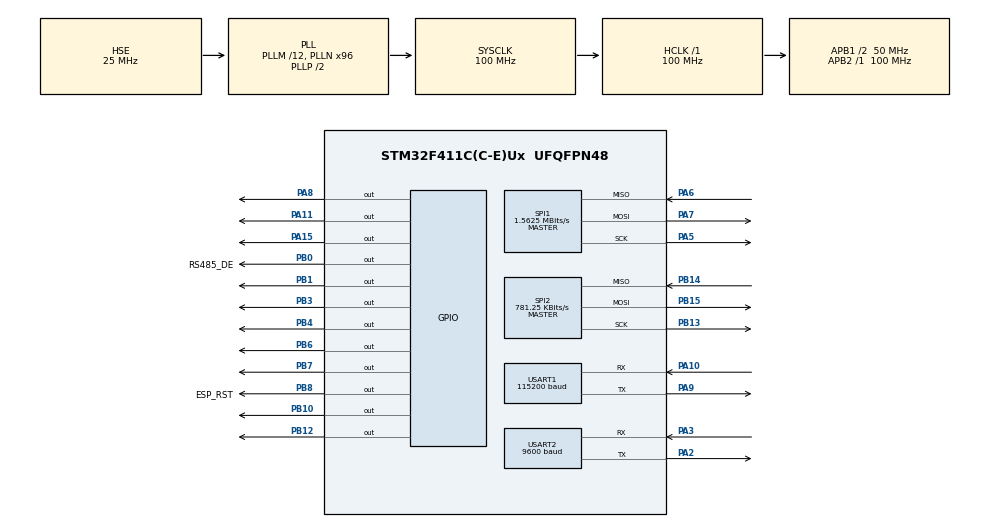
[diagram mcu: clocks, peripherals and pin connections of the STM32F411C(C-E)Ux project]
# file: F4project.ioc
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Dma.Request0=USART1_RX
Dma.Request1=USART1_TX
Dma.USART1_RX.0.Direction=DMA_PERIPH_TO_MEMORY
Dma.USART1_RX.0.FIFOMode=DMA_FIFOMODE_DISABLE
Dma.USART1_RX.0.Instance=DMA2_Stream2
Dma.USART1_RX.0.MemDataAlignment=DMA_MDATAALIGN_BYTE
Dma.USART1_RX.0.MemInc=DMA_MINC_ENABLE
Dma.USART1_RX.0.Mode=DMA_NORMAL
Dma.USART1_RX.0.PeriphDataAlignment=DMA_PDATAALIGN_BYTE
Dma.USART1_RX.0.PeriphInc=DMA_PINC_DISABLE
Dma.USART1_RX.0.Priority=DMA_PRIORITY_LOW
Dma.USART1_TX.1.Direction=DMA_MEMORY_TO_PERIPH
Dma.USART1_TX.1.FIFOMode=DMA_FIFOMODE_DISABLE
Dma.USART1_TX.1.Instance=DMA2_Stream7
Dma.USART1_TX.1.MemDataAlignment=DMA_MDATAALIGN_BYTE
Dma.USART1_TX.1.MemInc=DMA_MINC_ENABLE
Dma.USART1_TX.1.Mode=DMA_NORMAL
Dma.USART1_TX.1.PeriphDataAlignment=DMA_PDATAALIGN_BYTE
Dma.USART1_TX.1.PeriphInc=DMA_PINC_DISABLE
Dma.USART1_TX.1.Priority=DMA_PRIORITY_LOW
FREERTOS.Tasks01=defaultTask,24,128,StartDefaultTask,Default,NULL,Dynamic,NULL,NULL
FREERTOS.configUSE_TICKLESS_IDLE=2
IWDG.Prescaler=IWDG_PRESCALER_256
IWDG.Reload=2500-1
Mcu.Family=STM32F4
Mcu.Name=STM32F411C(C-E)Ux
Mcu.Package=UFQFPN48
NVIC.DMA2_Stream2_IRQn=true\:5\:0\:false\:false\:true\:true\:false\:true\:true
NVIC.DMA2_Stream7_IRQn=true\:5\:0\:false\:false\:true\:true\:false\:true\:true
NVIC.PriorityGroup=NVIC_PRIORITYGROUP_4
NVIC.RTC_WKUP_IRQn=true\:5\:0\:false\:false\:true\:true\:true\:true\:true
NVIC.TIM3_IRQn=true\:5\:0\:false\:false\:true\:true\:true\:true\:true
NVIC.TIM4_IRQn=true\:15\:0\:false\:false\:true\:false\:false\:true\:true
NVIC.TimeBase=TIM4_IRQn
NVIC.TimeBaseIP=TIM4
NVIC.USART1_IRQn=true\:5\:0\:false\:false\:true\:true\:true\:true\:true
NVIC.USART2_IRQn=true\:5\:0\:false\:false\:true\:true\:true\:true\:true
PA10.Mode=Asynchronous
PA10.Signal=USART1_RX
PA11.Signal=GPIO_Output
PA13.Mode=Serial_Wire
PA13.Signal=SYS_JTMS-SWDIO
PA14.Mode=Serial_Wire
PA14.Signal=SYS_JTCK-SWCLK
PA15.Signal=GPIO_Output
PA2.Mode=Asynchronous
PA2.Signal=USART2_TX
PA3.Mode=Asynchronous
PA3.Signal=USART2_RX
PA5.Mode=Full_Duplex_Master
PA5.Signal=SPI1_SCK
PA6.Mode=Full_Duplex_Master
PA6.Signal=SPI1_MISO
PA7.Mode=Full_Duplex_Master
PA7.Signal=SPI1_MOSI
PA8.PinState=GPIO_PIN_SET
PA8.Signal=GPIO_Output
PA9.GPIO_PuPd=GPIO_PULLUP
PA9.Mode=Asynchronous
PA9.Signal=USART1_TX
PB0.GPIO_Label=RS485_DE
PB0.Signal=GPIO_Output
PB1.Signal=GPIO_Output
PB10.GPIO_ModeDefaultOutputPP=GPIO_MODE_OUTPUT_PP
PB10.GPIO_PuPd=GPIO_NOPULL
PB10.PinState=GPIO_PIN_SET
PB10.Signal=GPIO_Output
PB12.PinState=GPIO_PIN_SET
PB12.Signal=GPIO_Output
PB13.Mode=Full_Duplex_Master
PB13.Signal=SPI2_SCK
PB14.Mode=Full_Duplex_Master
PB14.Signal=SPI2_MISO
PB15.Mode=Full_Duplex_Master
PB15.Signal=SPI2_MOSI
PB3.PinState=GPIO_PIN_SET
PB3.Signal=GPIO_Output
PB4.PinState=GPIO_PIN_SET
PB4.Signal=GPIO_Output
PB6.GPIO_ModeDefaultOutputPP=GPIO_MODE_OUTPUT_PP
PB6.GPIO_PuPd=GPIO_NOPULL
PB6.PinState=GPIO_PIN_SET
PB6.Signal=GPIO_Output
PB7.GPIO_ModeDefaultOutputPP=GPIO_MODE_OUTPUT_PP
PB7.GPIO_PuPd=GPIO_NOPULL
PB7.PinState=GPIO_PIN_SET
PB7.Signal=GPIO_Output
PB8.GPIO_Label=ESP_RST
PB8.PinState=GPIO_PIN_SET
PB8.Signal=GPIO_Output
PC14-OSC32_IN.Mode=LSE-External-Oscillator
PC14-OSC32_IN.Signal=RCC_OSC32_IN
PC15-OSC32_OUT.Mode=LSE-External-Oscillator
PC15-OSC32_OUT.Signal=RCC_OSC32_OUT
PH0\ -\ OSC_IN.Mode=HSE-External-Oscillator
PH0\ -\ OSC_IN.Signal=RCC_OSC_IN
PH1\ -\ OSC_OUT.Mode=HSE-External-Oscillator
PH1\ -\ OSC_OUT.Signal=RCC_OSC_OUT
ProjectManager.HeapSize=0x200
ProjectManager.StackSize=0x400
ProjectManager.TargetToolchain=MDK-ARM V5.32
RCC.48MHZClocksFreq_Value=50000000
RCC.AHBFreq_Value=100000000
RCC.APB1CLKDivider=RCC_HCLK_DIV2
RCC.APB1Freq_Value=50000000
RCC.APB1TimFreq_Value=100000000
RCC.APB2Freq_Value=100000000
RCC.APB2TimFreq_Value=100000000
RCC.CortexFreq_Value=100000000
RCC.HCLKFreq_Value=100000000
RCC.HSE_VALUE=25000000
RCC.HSI_VALUE=16000000
RCC.PLLM=12
RCC.PLLN=96
RCC.PLLSourceVirtual=RCC_PLLSOURCE_HSE
RCC.RCC_RTC_Clock_Source=RCC_RTCCLKSOURCE_LSE
RCC.RCC_RTC_Clock_SourceVirtual=RCC_RTCCLKSOURCE_LSE
RCC.SYSCLKFreq_VALUE=100000000
RCC.SYSCLKSource=RCC_SYSCLKSOURCE_PLLCLK
RCC.VCOOutputFreq_Value=200000000
SPI1.BaudRatePrescaler=SPI_BAUDRATEPRESCALER_64
SPI1.CalculateBaudRate=1.5625 MBits/s
SPI1.Direction=SPI_DIRECTION_2LINES
SPI1.Mode=SPI_MODE_MASTER
SPI1.VirtualType=VM_MASTER
SPI2.BaudRatePrescaler=SPI_BAUDRATEPRESCALER_64
SPI2.CalculateBaudRate=781.25 KBits/s
SPI2.Direction=SPI_DIRECTION_2LINES
SPI2.Mode=SPI_MODE_MASTER
SPI2.VirtualType=VM_MASTER
TIM3.Period=1000-1
TIM3.Prescaler=100-1
USART1.BaudRate=115200
USART1.VirtualMode=VM_ASYNC
USART2.BaudRate=9600
USART2.VirtualMode=VM_ASYNC
VP_FREERTOS_VS_CMSIS_V2.Mode=CMSIS_V2
VP_IWDG_VS_IWDG.Mode=IWDG_Activate
VP_RTC_VS_RTC_Activate.Mode=RTC_Enabled
VP_RTC_VS_RTC_WakeUp_intern.Mode=WakeUp
VP_SYS_VS_tim4.Mode=TIM4
VP_TIM3_VS_ClockSourceINT.Mode=Internal
board=custom

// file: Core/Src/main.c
/* USER CODE BEGIN Header */
/**
  ******************************************************************************
  * @file           : main.c
  * @brief          : Main program body
  ******************************************************************************
  * @attention
  *
  * Copyright (c) 2026 STMicroelectronics.
  * All rights reserved.
  *
  * This software is licensed under terms that can be found in the LICENSE file
  * in the root directory of this software component.
  * If no LICENSE file comes with this software, it is provided AS-IS.
  *
  ******************************************************************************
  */
/* USER CODE END Header */
#include "main.h"
#include "cmsis_os.h"
#include "dma.h"
#include "iwdg.h"
#include "rtc.h"
#include "spi.h"
#include "tim.h"
#include "usart.h"
#include "gpio.h"

/* USER CODE BEGIN Includes */
#include "lcd.h"
#include "touch.h"
#include "stdio.h"
#include "string.h"
#include "lvgl.h"
#include "lv_port_disp.h"
#include "lv_port_indev.h"
#include "page_main.h"
#include "modbus.h"
#include "command.h"
#include "ESP_at.h"
#include "libemqtt.h"
#include "pal.h"
#include "Taskhandel.h"
#include "queue.h"
#include "semphr.h"
#include "bsp_flash.h"
#include "flash.h"

/* USER CODE END Includes */

/* USER CODE BEGIN PD */
extern DMA_HandleTypeDef hdma_usart1_rx;

/* USER CODE END PD */

/* USER CODE BEGIN PV */
void Log_EraseAll(void);
/* USER CODE END PV */

void SystemClock_Config(void);
void MX_FREERTOS_Init(void);
/* USER CODE BEGIN PFP */
extern UART_HandleTypeDef huart2;
extern DMA_HandleTypeDef hdma_usart2_rx;
extern DMA_HandleTypeDef hdma_usart2_tx;

extern QueueHandle_t data_queue;
extern SemaphoreHandle_t uart1_mutex;
extern QueueHandle_t lvgl_data_queue;
uint8_t a[256];

/* USER CODE END PFP */

/* USER CODE BEGIN 0 */
/* USER CODE BEGIN 0 */
// ??????????(????)

/* USER CODE END 0 */

int main(void)
{

  /* MCU Configuration--------------------------------------------------------*/

  /* Reset of all peripherals, Initializes the Flash interface and the Systick. */
  HAL_Init();

  /* Configure the system clock */
  SystemClock_Config();

  /* USER CODE BEGIN SysInit */
//SysTick_Config(SystemCoreClock / 1000);
  /* USER CODE END SysInit */

  /* Initialize all configured peripherals */
  MX_GPIO_Init();
  MX_DMA_Init();
  MX_SPI1_Init();
  MX_USART2_UART_Init();
  MX_TIM3_Init();
  MX_USART1_UART_Init();
  MX_SPI2_Init();
  MX_IWDG_Init();
  MX_RTC_Init();
  /* USER CODE BEGIN 2 */
	SPI_FLASH_Init();       // 使能 SPI + 配置 CS
	HAL_TIM_Base_Start_IT(&htim3);
	/* MX_IWDG_Init() 内部已完成 HAL_IWDG_Init，此处不再重复调用 */

	FlashCache_Init();  							//定位下一条数据的写入地址
	RS485_RX;
	HAL_UARTEx_ReceiveToIdle_DMA(&huart1,a,sizeof(a));					//DMA接收空闲中断(ESP8266传数据到MCU 并放在环形缓冲区)
	__HAL_DMA_DISABLE_IT(&hdma_usart1_rx,DMA_IT_HT);						//关闭过半中断

// 创建队列：最多存 1 条温湿度数据 覆盖式写入
data_queue = xQueueCreate(1, sizeof(Data_t));
lvgl_data_queue= xQueueCreate(1, sizeof(Data_t));

uart1_mutex =xSemaphoreCreateMutex();							//创建互斥锁 （谁上锁 谁才能开锁）
flash_mutex=xSemaphoreCreateMutex();

 //Log_EraseAll();							// 偶尔要擦除日志区

  /* USER CODE END 2 */

  /* Init scheduler */
  osKernelInitialize();  /* Call init function for freertos objects (in cmsis_os2.c) */
  MX_FREERTOS_Init();

  /* Start scheduler */
  osKernelStart();

  /* We should never get here as control is now taken by the scheduler */

  /* Infinite loop */
  /* USER CODE BEGIN WHILE */
/* USER CODE BEGIN WHILE */
while (1)
{
	/* USER CODE BEGIN WHILE */

    /* USER CODE END WHILE */

  }
}

void SystemClock_Config(void)
{
  RCC_OscInitTypeDef RCC_OscInitStruct = {0};
  RCC_ClkInitTypeDef RCC_ClkInitStruct = {0};

  /** Configure the main internal regulator output voltage
  */
  __HAL_RCC_PWR_CLK_ENABLE();
  __HAL_PWR_VOLTAGESCALING_CONFIG(PWR_REGULATOR_VOLTAGE_SCALE1);

  /** Initializes the RCC Oscillators according to the specified parameters
  * in the RCC_OscInitTypeDef structure.
  */
  RCC_OscInitStruct.OscillatorType = RCC_OSCILLATORTYPE_LSI|RCC_OSCILLATORTYPE_HSE
                              |RCC_OSCILLATORTYPE_LSE;
  RCC_OscInitStruct.HSEState = RCC_HSE_ON;
  RCC_OscInitStruct.LSEState = RCC_LSE_ON;
  RCC_OscInitStruct.LSIState = RCC_LSI_ON;
  RCC_OscInitStruct.PLL.PLLState = RCC_PLL_ON;
  RCC_OscInitStruct.PLL.PLLSource = RCC_PLLSOURCE_HSE;
  RCC_OscInitStruct.PLL.PLLM = 12;
  RCC_OscInitStruct.PLL.PLLN = 96;
  RCC_OscInitStruct.PLL.PLLP = RCC_PLLP_DIV2;
  RCC_OscInitStruct.PLL.PLLQ = 4;
  if (HAL_RCC_OscConfig(&RCC_OscInitStruct) != HAL_OK)
  {
    Error_Handler();
  }

  /** Initializes the CPU, AHB and APB buses clocks
  */
  RCC_ClkInitStruct.ClockType = RCC_CLOCKTYPE_HCLK|RCC_CLOCKTYPE_SYSCLK
                              |RCC_CLOCKTYPE_PCLK1|RCC_CLOCKTYPE_PCLK2;
  RCC_ClkInitStruct.SYSCLKSource = RCC_SYSCLKSOURCE_PLLCLK;
  RCC_ClkInitStruct.AHBCLKDivider = RCC_SYSCLK_DIV1;
  RCC_ClkInitStruct.APB1CLKDivider = RCC_HCLK_DIV2;
  RCC_ClkInitStruct.APB2CLKDivider = RCC_HCLK_DIV1;

  if (HAL_RCC_ClockConfig(&RCC_ClkInitStruct, FLASH_LATENCY_3) != HAL_OK)
  {
    Error_Handler();
  }
}

void HAL_TIM_PeriodElapsedCallback(TIM_HandleTypeDef *htim)
{
  /* USER CODE BEGIN Callback 0 */

	if(htim==&htim3)									//lvgl的心跳函数
	{
		lv_tick_inc(1);									//告诉 LVGL 又过去了 1 毫秒
	}
  /* USER CODE END Callback 0 */
  if (htim->Instance == TIM4)
  {
    HAL_IncTick();
  }
}

void Error_Handler(void)
{
  __disable_irq();
  while (1)
  {
  }
}
#ifdef USE_FULL_ASSERT
/**
  * @brief  Reports the name of the source file and the source line number
  *         where the assert_param error has occurred.
  * @param  file: pointer to the source file name
  * @param  line: assert_param error line source number
  * @retval None
  */
void assert_failed(uint8_t *file, uint32_t line)
{
  /* USER CODE BEGIN 6 */
  /* User can add his own implementation to report the file name and line number,
     ex: u1_printf("Wrong parameters value: file %s on line %d\r\n", file, line) */
  /* USER CODE END 6 */
}
#endif /* USE_FULL_ASSERT */

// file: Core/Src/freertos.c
/* USER CODE BEGIN Header */
/**
  ******************************************************************************
  * File Name          : freertos.c
  * Description        : Code for freertos applications
  ******************************************************************************
  * @attention
  *
  * Copyright (c) 2026 STMicroelectronics.
  * All rights reserved.
  *
  * This software is licensed under terms that can be found in the LICENSE file
  * in the root directory of this software component.
  * If no LICENSE file comes with this software, it is provided AS-IS.
  *
  ******************************************************************************
  */
/* USER CODE END Header */

#include "FreeRTOS.h"
#include "task.h"
#include "main.h"
#include "cmsis_os.h"

/* USER CODE BEGIN Includes */
#include "lcd.h"
#include "touch.h"
#include "stdio.h"
#include "string.h"
#include "lvgl.h"
#include "lv_port_disp.h"
#include "lv_port_indev.h"
#include "page_main.h"
#include "modbus.h"
#include "command.h"
#include "ESP_at.h"
#include "libemqtt.h"
#include "pal.h"
#include "Taskhandel.h"
/* USER CODE END Includes */

/* USER CODE BEGIN PD */
extern TickType_t power_tick;

extern TickType_t idle_tick;
extern uint8_t lcd_bl_en ; //1亮屏 0熄屏
/* USER CODE END PD */

/* Definitions for defaultTask */
osThreadId_t defaultTaskHandle;
const osThreadAttr_t defaultTask_attributes = {
  .name = "defaultTask",
  .stack_size = 128 * 4,
  .priority = (osPriority_t) osPriorityNormal,
};

void StartDefaultTask(void *argument);

void MX_FREERTOS_Init(void); /* (MISRA C 2004 rule 8.1) */

/* USER CODE BEGIN VPORT_SUPPORT_TICKS_AND_SLEEP */
__weak void vPortSuppressTicksAndSleep( TickType_t xExpectedIdleTime )
{
  // Generated when configUSE_TICKLESS_IDLE == 2.
  // Function called in tasks.c (in portTASK_FUNCTION).
  // TO BE COMPLETED or TO BE REPLACED by a user one, overriding that weak one.
}
/* USER CODE END VPORT_SUPPORT_TICKS_AND_SLEEP */

void MX_FREERTOS_Init(void) {

  /* Create the thread(s) */
  /* creation of defaultTask */
  defaultTaskHandle = osThreadNew(StartDefaultTask, NULL, &defaultTask_attributes);

}

void StartDefaultTask(void *argument)
{
  /* USER CODE BEGIN StartDefaultTask */
	extern volatile uint8_t g_task_fail;   /* 定义在 Taskhandel.c，用于上报创建失败 */

		//  任务函数  任务的名字  栈大小,单位为word  调用任务函数时传入的参数  优先级  任务句柄, 以后使用它来操作这个任务

  // UI 任务(LVGL) 栈必须大！
  if (xTaskCreate(UI, "UITask", 1024, NULL, osPriorityAboveNormal, NULL) != pdPASS)
      g_task_fail |= 0x01;

  // Modbus 任务
  if (xTaskCreate(Modbus, "SensorTask", 512, NULL, osPriorityNormal+1, NULL) != pdPASS)
      g_task_fail |= 0x02;

	  // 网络 AT 任务
  /* 768：AT 任务要调 RE_MQTT_Init()，栈上叠 cmd[128] + JoinWiFi 帧 + ESP_SendCmd 的 line[512]，
     512 words(2048B) 余量太薄 */
  if (xTaskCreate(AT, "NetworkTask", 768, NULL, osPriorityNormal, NULL) != pdPASS)
      g_task_fail |= 0x04;

  // MQTT 任务
  /* 1024 words(4096B)：本任务栈上同时存在 cached[512] + payload[256] + pub[384] + line[512]
     约 1.8~2.2KB，原 512 words(2048B) 会在补传路径上直接溢出（且工程未开栈溢出检测） */
  if (xTaskCreate(MQTT, "MQTTTask", 1024, NULL, osPriorityNormal, NULL) != pdPASS)
      g_task_fail |= 0x08;

	//看门狗   优先级最高  20秒超时溢出 3秒喂一次狗
	if (xTaskCreate(Dog_task,"Dog_task",512,NULL,osPriorityAboveNormal+2,NULL) != pdPASS)
      g_task_fail |= 0x10;

power_tick = xTaskGetTickCount();

idle_tick = xTaskGetTickCount();

lcd_bl_en = 1;

  // ========================
  // 创建完成，删除自身
  // ========================
  vTaskDelete(NULL);

  // 下面永远不会执行

  /* Infinite loop */
  for(;;)
  {

    osDelay(1);
  }
  /* USER CODE END StartDefaultTask */
}

/* USER CODE BEGIN Application */

/**
 * @brief  FreeRTOS 栈溢出钩子（configCHECK_FOR_STACK_OVERFLOW = 2）
 * @note   栈溢出后内存已被破坏，此时不能调 Log_Write/sprintf 等任何会用栈的函数，
 *         只能停机等 IWDG(20s) 复位。
 *         若用调试器在线，在此断下即可从 pcTaskName 看出是哪个任务溢出。
 */
void vApplicationStackOverflowHook(TaskHandle_t xTask, char *pcTaskName)
{
    (void)xTask;
    (void)pcTaskName;

    taskDISABLE_INTERRUPTS();
    for (;;)
    {
        /* 不喂狗，等看门狗复位 */
    }
}

/* USER CODE END Application */
